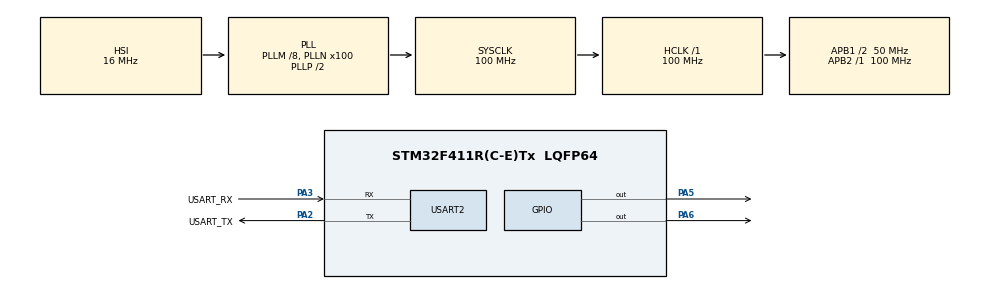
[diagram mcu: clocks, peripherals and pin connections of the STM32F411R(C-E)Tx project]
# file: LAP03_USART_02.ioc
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Mcu.Family=STM32F4
Mcu.Name=STM32F411R(C-E)Tx
Mcu.Package=LQFP64
NVIC.PriorityGroup=NVIC_PRIORITYGROUP_0
PA2.GPIO_Label=USART_TX
PA2.Mode=Asynchronous
PA2.Signal=USART2_TX
PA3.GPIO_Label=USART_RX
PA3.Mode=Asynchronous
PA3.Signal=USART2_RX
PA5.Signal=GPIO_Output
PA6.Signal=GPIO_Output
ProjectManager.HeapSize=0x200
ProjectManager.StackSize=0x400
ProjectManager.TargetToolchain=MDK-ARM V5.27
RCC.48MHZClocksFreq_Value=50000000
RCC.AHBFreq_Value=100000000
RCC.APB1CLKDivider=RCC_HCLK_DIV2
RCC.APB1Freq_Value=50000000
RCC.APB1TimFreq_Value=100000000
RCC.APB2Freq_Value=100000000
RCC.APB2TimFreq_Value=100000000
RCC.CortexFreq_Value=100000000
RCC.FLatency-AdvancedSettings=FLASH_LATENCY_3
RCC.HCLKFreq_Value=100000000
RCC.HSE_VALUE=8000000
RCC.HSI_VALUE=16000000
RCC.LSE_VALUE=32768
RCC.PLLM=8
RCC.PLLN=100
RCC.SYSCLKFreq_VALUE=100000000
RCC.SYSCLKSource=RCC_SYSCLKSOURCE_PLLCLK
RCC.VCOOutputFreq_Value=200000000
USART2.VirtualMode=VM_ASYNC
board=NUCLEO-F411RE

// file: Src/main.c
/* USER CODE BEGIN Header */
/**
  ******************************************************************************
  * @file           : main.c
  * @brief          : Main program body
  ******************************************************************************
  * @attention
  *
  * <h2><center>&copy; Copyright (c) 2020 STMicroelectronics.
  * All rights reserved.</center></h2>
  *
  * This software component is licensed by ST under BSD 3-Clause license,
  * the "License"; You may not use this file except in compliance with the
  * License. You may obtain a copy of the License at:
  *                        opensource.org/licenses/BSD-3-Clause
  *
  ******************************************************************************
  */
/* USER CODE END Header */

#include "main.h"
#include "usart.h"
#include "gpio.h"

/* USER CODE BEGIN Includes */
#include "string.h"
#include "stdio.h"
/* USER CODE END Includes */

void SystemClock_Config(void);
/* USER CODE BEGIN PFP */
int Send_Tx_data(char str[]);
int Read_Rx_data();
/* USER CODE END PFP */

int main(void)
{

  /* MCU Configuration--------------------------------------------------------*/

  /* Reset of all peripherals, Initializes the Flash interface and the Systick. */
  HAL_Init();

  /* Configure the system clock */
  SystemClock_Config();

  /* Initialize all configured peripherals */
  MX_GPIO_Init();
  MX_USART2_UART_Init();

  /* Infinite loop */
  while (1)
  {

    /* USER CODE BEGIN 3 */
		for(uint8_t i=0;i<10;i++){
			char str;
			sprintf(&str, "%d", i);
			Send_Tx_data(&str);
			HAL_Delay(100);
		};
		Send_Tx_data("\n\r");

  }
  /* USER CODE END 3 */
}

void SystemClock_Config(void)
{
  RCC_OscInitTypeDef RCC_OscInitStruct = {0};
  RCC_ClkInitTypeDef RCC_ClkInitStruct = {0};

  /** Configure the main internal regulator output voltage
  */
  __HAL_RCC_PWR_CLK_ENABLE();
  __HAL_PWR_VOLTAGESCALING_CONFIG(PWR_REGULATOR_VOLTAGE_SCALE1);
  /** Initializes the CPU, AHB and APB busses clocks
  */
  RCC_OscInitStruct.OscillatorType = RCC_OSCILLATORTYPE_HSI;
  RCC_OscInitStruct.HSIState = RCC_HSI_ON;
  RCC_OscInitStruct.HSICalibrationValue = RCC_HSICALIBRATION_DEFAULT;
  RCC_OscInitStruct.PLL.PLLState = RCC_PLL_ON;
  RCC_OscInitStruct.PLL.PLLSource = RCC_PLLSOURCE_HSI;
  RCC_OscInitStruct.PLL.PLLM = 8;
  RCC_OscInitStruct.PLL.PLLN = 100;
  RCC_OscInitStruct.PLL.PLLP = RCC_PLLP_DIV2;
  RCC_OscInitStruct.PLL.PLLQ = 4;
  if (HAL_RCC_OscConfig(&RCC_OscInitStruct) != HAL_OK)
  {
    Error_Handler();
  }
  /** Initializes the CPU, AHB and APB busses clocks
  */
  RCC_ClkInitStruct.ClockType = RCC_CLOCKTYPE_HCLK|RCC_CLOCKTYPE_SYSCLK
                              |RCC_CLOCKTYPE_PCLK1|RCC_CLOCKTYPE_PCLK2;
  RCC_ClkInitStruct.SYSCLKSource = RCC_SYSCLKSOURCE_PLLCLK;
  RCC_ClkInitStruct.AHBCLKDivider = RCC_SYSCLK_DIV1;
  RCC_ClkInitStruct.APB1CLKDivider = RCC_HCLK_DIV2;
  RCC_ClkInitStruct.APB2CLKDivider = RCC_HCLK_DIV1;

  if (HAL_RCC_ClockConfig(&RCC_ClkInitStruct, FLASH_LATENCY_3) != HAL_OK)
  {
    Error_Handler();
  }
}

/* USER CODE BEGIN 4 */
int Send_Tx_data(char str[])
{
	while(__HAL_UART_GET_FLAG(&huart2, UART_FLAG_TC) == RESET){}
	HAL_UART_Transmit(&huart2, (uint8_t*)str, strlen(str),1000);
	HAL_Delay(300);
}

int Read_Rx_data()
{
	char ch1 = 'A';
	while(__HAL_UART_GET_FLAG(&huart2, UART_FLAG_RXNE) == RESET){}
	HAL_UART_Receive(&huart2, (uint8_t*) &ch1, 1, 1000);

	return ch1;
}
/* USER CODE END 4 */

void Error_Handler(void)
{
}

/************************ (C) COPYRIGHT STMicroelectronics *****END OF FILE****/
